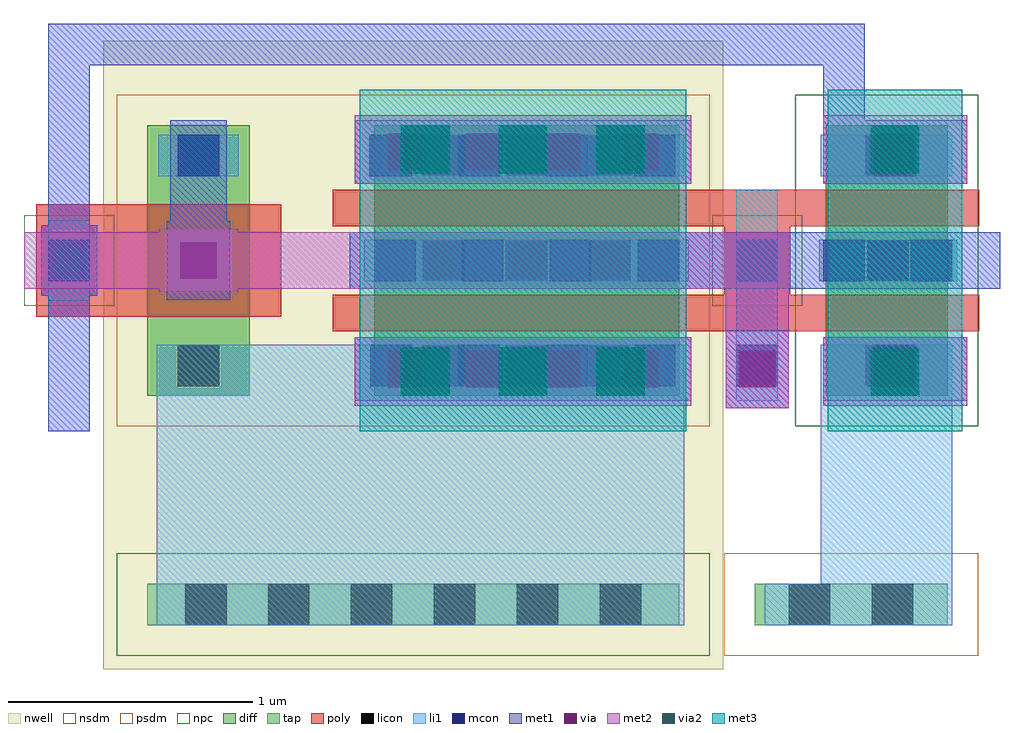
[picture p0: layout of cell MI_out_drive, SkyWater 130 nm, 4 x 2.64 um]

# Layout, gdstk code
import gdstk
lib = gdstk.Library(unit=1e-6, precision=1e-09)
def R(c, l, rs):  # rectangles x0, y0, x1, y1
    for r in rs: c.add(gdstk.rectangle(r[:2], r[2:], *l))
def A(c, l, x, y, w, h, nx, ny, dx, dy):  # array of equal rectangles
    R(c, l, [(x+i*dx, y+j*dy, x+i*dx+w, y+j*dy+h) for i in range(nx) for j in range(ny)])
nwell = (64, 20)
diff = (65, 20)
tap = (65, 44)
poly = (66, 20)
licon = (66, 44)
li1 = (67, 20)
mcon = (67, 44)
met1 = (68, 20)
via = (68, 44)
met2 = (69, 20)
via2 = (69, 44)
met3 = (70, 20)
nsdm = (93, 44)
psdm = (94, 20)
npc = (95, 20)

mi_out_drive = lib.new_cell('MI_out_drive')
R(mi_out_drive, nwell, [(23.825,-0.275,26.365,2.3)])
R(mi_out_drive, diff, [(24.005,0.845,24.425,1.955), (24.935,0.845,26.185,1.955), (26.785,0.845,27.285,1.955)])
R(mi_out_drive, tap, [(24.005,-0.095,26.185,0.075), (26.495,-0.095,27.285,0.075)])
R(mi_out_drive, poly, [(24.765,1.11,27.415,1.26), (23.55,1.17,24.555,1.63), (26.37,1.26,26.64,1.54), (24.765,1.54,27.415,1.69)])
A(mi_out_drive, licon, 24.16, -0.095, 0.17, 0.17, 6, 1, 0.34, 0)
A(mi_out_drive, licon, 25.135, 0.885, 0.17, 0.17, 3, 3, 0.34, 0.43)
R(mi_out_drive, licon, [(26.635,-0.095,26.805,0.075), (26.975,-0.095,27.145,0.075), (24.13,0.885,24.3,1.055), (26.95,0.885,27.12,1.055), (23.6,1.315,23.77,1.485), (26.42,1.315,26.59,1.485), (26.955,1.315,27.125,1.485), (24.13,1.745,24.3,1.915), (26.95,1.745,27.12,1.915)])
R(mi_out_drive, li1, [(24.045,-0.095,26.205,1.055), (26.535,-0.095,27.305,0.075), (26.765,0.075,27.305,1.055), (26.42,0.825,26.59,1.69), (23.6,1.235,23.77,1.565), (24.895,1.315,26.225,1.485), (26.76,1.315,27.325,1.485), (24.05,1.745,24.38,1.915), (24.915,1.745,26.205,1.915), (26.765,1.745,27.305,1.915)])
A(mi_out_drive, mcon, 24.92, 0.885, 0.17, 0.17, 4, 2, 0.36, 0.86)
A(mi_out_drive, mcon, 24.935, 1.315, 0.17, 0.17, 4, 1, 0.36, 0)
R(mi_out_drive, mcon, [(26.42,0.885,26.59,1.055), (26.985,0.885,27.155,1.055), (23.6,1.315,23.77,1.485), (26.775,1.315,26.945,1.485), (27.135,1.315,27.305,1.485), (24.13,1.745,24.3,1.915), (26.985,1.745,27.155,1.915)])
R(mi_out_drive, met1, [(23.6,0.7,23.77,1.255), (26.375,0.795,26.635,1.115), (24.855,0.825,26.235,1.085), (26.775,0.825,27.365,1.085), (24.085,1.24,24.345,1.56), (23.57,1.255,23.8,1.545), (24.835,1.285,27.5,1.515), (23.6,1.545,23.77,2.2), (24.1,1.56,24.33,1.975), (24.855,1.715,26.235,1.975), (26.775,1.715,27.365,1.975), (26.775,1.975,26.945,2.2), (23.6,2.2,26.945,2.37)])
A(mi_out_drive, via, 24.99, 0.88, 0.15, 0.15, 4, 2, 0.32, 0.89)
R(mi_out_drive, via, [(26.43,0.88,26.58,1.03), (26.995,0.88,27.145,1.03), (24.14,1.325,24.29,1.475), (26.995,1.77,27.145,1.92)])
R(mi_out_drive, met2, [(26.375,0.795,26.635,1.285), (24.855,0.805,26.235,1.085), (26.775,0.805,27.365,1.085), (24.055,1.27,24.375,1.285), (23.5,1.285,26.635,1.515), (24.055,1.515,24.375,1.53), (24.855,1.715,26.235,1.995), (26.775,1.715,27.365,1.995)])
A(mi_out_drive, via2, 25.045, 0.845, 0.2, 0.2, 3, 2, 0.4, 0.91)
R(mi_out_drive, via2, [(26.97,0.845,27.17,1.045), (26.97,1.755,27.17,1.955)])
R(mi_out_drive, met3, [(24.875,0.7,26.215,2.1), (26.795,0.7,27.345,2.1)])
R(mi_out_drive, nsdm, [(23.88,-0.22,26.31,0.2), (26.66,0.72,27.41,2.08)])
R(mi_out_drive, psdm, [(26.37,-0.22,27.41,0.2), (23.88,0.72,26.31,2.08)])
R(mi_out_drive, npc, [(23.5,1.215,23.87,1.585), (26.32,1.215,26.69,1.585)])

lib.write_gds('MI_out_drive.gds')
